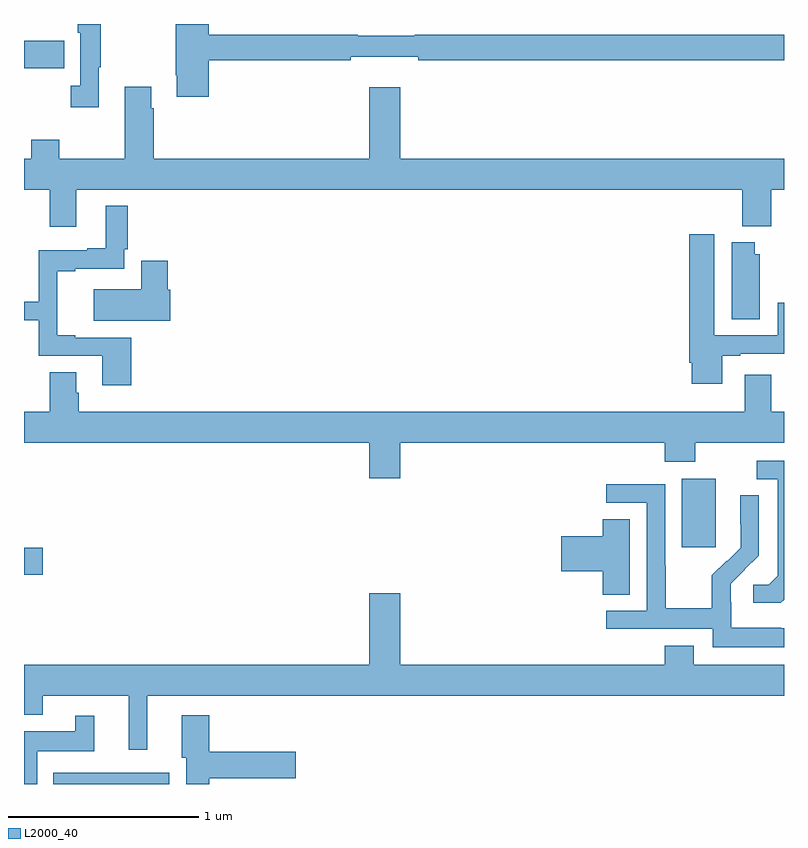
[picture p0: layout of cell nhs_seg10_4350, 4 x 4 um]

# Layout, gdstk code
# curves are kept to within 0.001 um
import gdstk
lib = gdstk.Library(unit=1e-6, precision=1e-09)
def R(c, l, rs):  # rectangles x0, y0, x1, y1
    for r in rs: c.add(gdstk.rectangle(r[:2], r[2:], *l))
def P(c, l, *ps):  # polygons
    for p in ps: c.add(gdstk.Polygon(p, *l))
L2000_40 = (2000, 40)

nhs_seg10_4350 = lib.new_cell('nhs_seg10_4350')
R(nhs_seg10_4350, L2000_40, [(355.154,1318.5,355.765,1318.558), (355,1319.602,355.099,1319.744), (358.463,1319.745,358.642,1320.106), (355,1322.266,355.211,1322.413)])
P(nhs_seg10_4350, L2000_40, [(355.973,1322.308),(356.72,1322.308),(356.72,1322.327),(357.076,1322.327),(357.076,1322.308),(359,1322.308),(359,1322.444),(357.056,1322.444),(357.056,1322.437),(356.756,1322.437),(356.756,1322.444),(355.973,1322.444),(355.973,1322.5),(355.798,1322.5),(355.798,1322.23),(355.805,1322.23),(355.805,1322.118),(355.973,1322.118)],
  [(355.393,1322.273),(355.405,1322.273),(355.405,1322.5),(355.284,1322.5),(355.284,1322.453),(355.296,1322.453),(355.296,1322.174),(355.245,1322.174),(355.245,1322.061),(355.393,1322.061)],
  [(355.276,1321.628),(358.781,1321.628),(358.781,1321.436),(358.933,1321.436),(358.933,1321.628),(359,1321.628),(359,1321.792),(356.98,1321.792),(356.98,1322.167),(356.816,1322.167),(356.816,1321.792),(355.682,1321.792),(355.682,1322.057),(355.669,1322.057),(355.669,1322.17),(355.529,1322.17),(355.529,1321.792),(355.185,1321.792),(355.185,1321.891),(355.037,1321.891),(355.037,1321.792),(355,1321.792),(355,1321.628),(355.136,1321.628),(355.136,1321.434),(355.276,1321.434)],
  [(355.565,1320.849),(355.27,1320.849),(355.27,1320.862),(355.175,1320.862),(355.175,1321.2),(355.27,1321.2),(355.27,1321.212),(355.527,1321.212),(355.527,1321.315),(355.547,1321.315),(355.547,1321.543),(355.43,1321.543),(355.43,1321.321),(355.334,1321.321),(355.334,1321.308),(355.077,1321.308),(355.077,1321.038),(355,1321.038),(355,1320.942),(355.077,1320.942),(355.077,1320.753),(355.412,1320.753),(355.412,1320.6),(355.565,1320.6)],
  [(358.675,1320.753),(358.771,1320.753),(358.771,1320.765),(359,1320.765),(359,1321.033),(358.967,1321.033),(358.967,1320.861),(358.633,1320.861),(358.633,1321.393),(358.502,1321.393),(358.502,1320.718),(358.514,1320.718),(358.514,1320.606),(358.675,1320.606)],
  [(358.873,1321.287),(358.846,1321.287),(358.846,1321.351),(358.724,1321.351),(358.724,1320.946),(358.873,1320.946)],
  [(355.769,1321.101),(355.757,1321.101),(355.757,1321.255),(355.616,1321.255),(355.616,1321.105),(355.368,1321.105),(355.368,1320.938),(355.769,1320.938)],
  [(356.98,1320.296),(358.373,1320.296),(358.373,1320.197),(358.533,1320.197),(358.533,1320.296),(359,1320.296),(359,1320.46),(358.933,1320.46),(358.933,1320.655),(358.793,1320.655),(358.793,1320.46),(355.289,1320.46),(355.289,1320.558),(355.276,1320.558),(355.276,1320.668),(355.136,1320.668),(355.136,1320.46),(355,1320.46),(355,1320.296),(356.816,1320.296),(356.816,1320.108),(356.98,1320.108)],
  [(359,1319.471),(359,1320.201),(358.857,1320.201),(358.857,1320.105),(358.967,1320.105),(358.967,1319.597),(358.92,1319.55),(358.839,1319.55),(358.839,1319.453),(358.982,1319.453)],
  [(359,1319.319),(358.985,1319.319),(358.985,1319.323),(358.722,1319.323),(358.722,1319.457),(358.72,1319.457),(358.72,1319.554),(358.866,1319.702),(358.866,1320.02),(358.77,1320.02),(358.77,1319.866),(358.772,1319.866),(358.772,1319.744),(358.701,1319.673),(358.698,1319.676),(358.621,1319.599),(358.621,1319.425),(358.377,1319.425),(358.377,1319.648),(358.374,1319.648),(358.374,1320.078),(358.065,1320.078),(358.065,1319.979),(358.278,1319.979),(358.278,1319.412),(358.065,1319.412),(358.065,1319.316),(358.626,1319.316),(358.626,1319.219),(359,1319.219)],
  [(358.189,1319.894),(358.046,1319.894),(358.046,1319.804),(357.828,1319.804),(357.828,1319.621),(358.046,1319.621),(358.046,1319.497),(358.189,1319.497)],
  [(355.649,1318.964),(359,1318.964),(359,1319.128),(358.525,1319.128),(358.525,1319.227),(358.373,1319.227),(358.373,1319.128),(356.98,1319.128),(356.98,1319.503),(356.816,1319.503),(356.816,1319.128),(355,1319.128),(355,1318.865),(355.099,1318.865),(355.099,1318.964),(355.55,1318.964),(355.55,1318.68),(355.649,1318.68)],
  [(355.976,1318.529),(356.431,1318.529),(356.431,1318.671),(355.976,1318.671),(355.976,1318.861),(355.829,1318.861),(355.829,1318.638),(355.853,1318.638),(355.853,1318.5),(355.976,1318.5)],
  [(355.069,1318.673),(355.37,1318.673),(355.37,1318.858),(355.271,1318.858),(355.271,1318.777),(355,1318.777),(355,1318.5),(355.069,1318.5)])

lib.write_gds('nhs_seg10_4350.gds')
